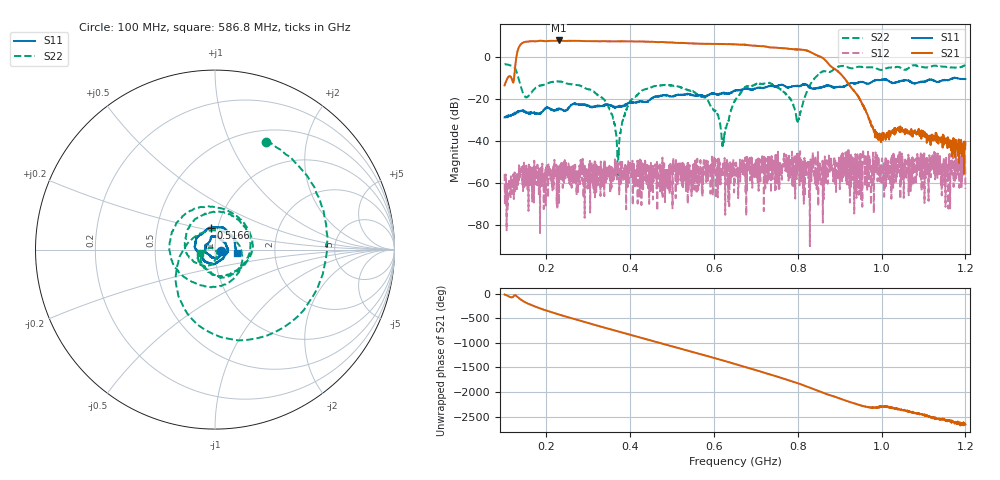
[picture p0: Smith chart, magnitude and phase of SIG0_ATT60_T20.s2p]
# Hz S DB R 50
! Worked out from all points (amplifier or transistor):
!   1601 points, 100 MHz to 1.2 GHz, reference 50 ohm
!   highest |S21| = 7.8 dB at 229.2 MHz (marker M1)
!   |S21| within 3 dB of that: 134.7 MHz to 725.7 MHz (591 MHz wide, 137 % of centre)
!   unconditionally stable (mu >= 1): start of sweep to end of sweep
!   at 282.9 MHz: K = 69.63, MAG = 7.8 dB, |S12| = -50.9 dB
!   at 650 MHz: K = 133.33, MAG = 6.1 dB, |S12| = -54.8 dB
!   at 1.2 GHz: K = 42212.33, MAG = -38.3 dB, |S12| = -62.9 dB
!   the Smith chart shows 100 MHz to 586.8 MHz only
!   S11 on the Smith chart (normalised r, x): 100 MHz: 1.07, -0.02; 516.6 MHz: 0.93, +0.23; 586.8 MHz: 1.28, -0.05
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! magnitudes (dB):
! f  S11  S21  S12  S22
! 100 MHz  -28.9  -13.6  -55.8  -3.5
! 108.9 MHz  -28.4  -9.6  -66.2  -3.8
! 119.9 MHz  -27.3  -12.1  -57.7  -4.5
! 141.9 MHz  -25.6  6.5  -53.3  -16.1
! 229.2 MHz  -24.9  7.8  -52.6  -11.8
! 283.6 MHz  -22.7  7.6  -54.0  -13.9
! 342 MHz  -23.1  7.4  -59.8  -21.4
! 371.6 MHz  -23.7  7.4  -53.6  -46.5
! 399.1 MHz  -21.8  7.4  -52.2  -21.3
! 467.1 MHz  -19.0  7.0  -58.5  -13.8
! 516.6 MHz  -18.2  6.7  -51.2  -14.2
! 586.8 MHz  -18.1  6.2  -56.4  -21.4
! 621.8 MHz  -17.0  6.1  -56.4  -40.7
! 650 MHz  -16.1  6.0  -54.8  -20.7
! 731.8 MHz  -14.0  4.6  -52.3  -12.4
! 800.6 MHz  -13.9  3.6  -46.1  -30.4
! 833.6 MHz  -15.1  2.0  -54.5  -11.9
! 911.2 MHz  -13.9  -10.1  -54.4  -4.4
! 988.2 MHz  -11.0  -38.6  -46.7  -5.6
! 1.017 GHz  -11.6  -35.4  -52.0  -5.1
! 1.124 GHz  -11.1  -39.8  -54.4  -4.3
! 1.2 GHz  -10.5  -40.9  -62.9  -3.9
